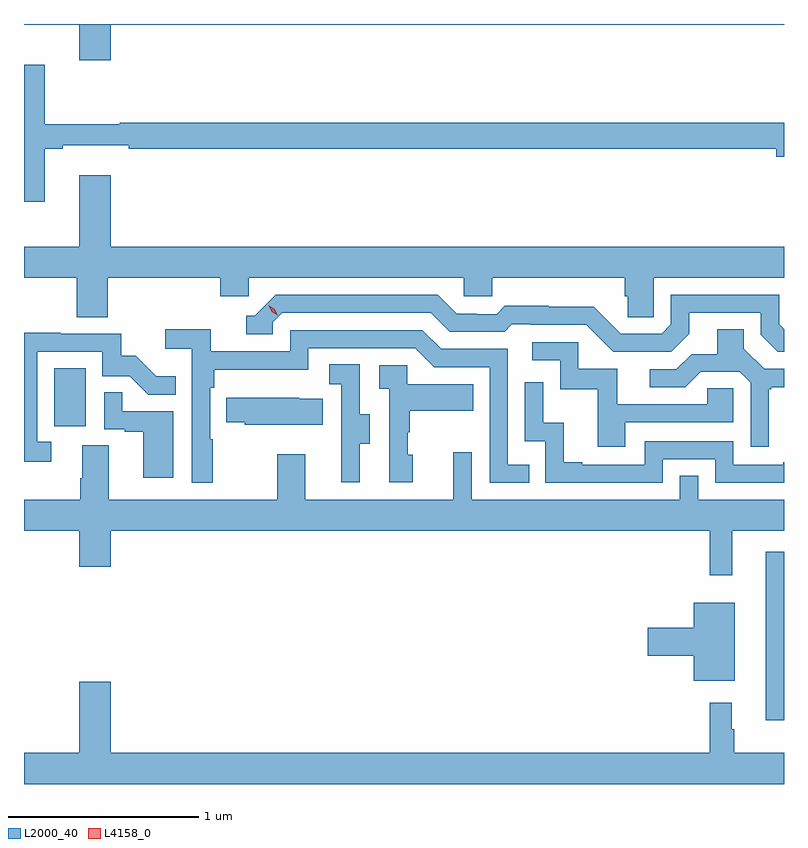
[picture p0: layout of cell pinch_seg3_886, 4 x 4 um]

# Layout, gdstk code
import gdstk
lib = gdstk.Library(unit=1e-6, precision=1e-09)
def R(c, l, rs):  # rectangles x0, y0, x1, y1
    for r in rs: c.add(gdstk.rectangle(r[:2], r[2:], *l))
def P(c, l, *ps):  # polygons
    for p in ps: c.add(gdstk.Polygon(p, *l))
L2000_40 = (2000, 40)
L4158_0 = (4158, 0)

pinch_seg3_886 = lib.new_cell('pinch_seg3_886')
R(pinch_seg3_886, L2000_40, [(887.9,690.596,887.996,691.483), (884.156,692.142,884.32,692.449)])
P(pinch_seg3_886, L2000_40, [(884.452,694.256),(887.996,694.256),(887.996,694.26),(883.996,694.26),(883.996,694.256),(884.288,694.256),(884.288,694.068),(884.452,694.068)],
  [(884.104,693.604),(884.2,693.604),(884.2,693.623),(884.548,693.623),(884.548,693.604),(887.954,693.604),(887.954,693.562),(887.996,693.562),(887.996,693.74),(884.5,693.74),(884.5,693.733),(884.104,693.733),(884.104,694.045),(883.996,694.045),(883.996,693.324),(884.104,693.324)],
  [(884.438,692.924),(885.029,692.924),(885.029,692.826),(885.18,692.826),(885.18,692.924),(886.311,692.924),(886.311,692.826),(886.461,692.826),(886.461,692.924),(887.159,692.924),(887.159,692.826),(887.173,692.826),(887.173,692.716),(887.31,692.716),(887.31,692.924),(887.996,692.924),(887.996,693.088),(884.452,693.088),(884.452,693.463),(884.288,693.463),(884.288,693.088),(883.996,693.088),(883.996,692.924),(884.273,692.924),(884.273,692.716),(884.438,692.716)],
  [(887.497,692.629),(887.497,692.739),(887.874,692.739),(887.874,692.625),(887.964,692.535),(887.996,692.535),(887.996,692.653),(887.97,692.679),(887.97,692.835),(887.4,692.835),(887.4,692.679),(887.352,692.631),(887.136,692.631),(886.994,692.773),(886.758,692.773),(886.758,692.776),(886.525,692.776),(886.483,692.733),(886.38,692.733),(886.38,692.736),(886.273,692.736),(886.174,692.835),(885.321,692.835),(885.21,692.724),(885.167,692.724),(885.167,692.628),(885.306,692.628),(885.306,692.691),(885.354,692.739),(886.137,692.739),(886.236,692.64),(886.525,692.64),(886.564,692.679),(886.663,692.679),(886.663,692.676),(886.956,692.676),(887.097,692.535),(887.403,692.535)],
  [(884.989,692.075),(884.976,692.075),(884.976,692.345),(884.996,692.345),(884.996,692.441),(885.492,692.441),(885.492,692.553),(886.056,692.553),(886.155,692.454),(886.446,692.454),(886.446,691.845),(886.655,691.845),(886.655,691.941),(886.542,691.941),(886.542,692.55),(886.192,692.55),(886.093,692.649),(885.396,692.649),(885.396,692.538),(884.978,692.538),(884.978,692.654),(884.739,692.654),(884.739,692.552),(884.88,692.552),(884.88,691.845),(884.989,691.845)],
  [(887.917,692.337),(887.929,692.337),(887.929,692.348),(887.996,692.348),(887.996,692.445),(887.892,692.445),(887.785,692.552),(887.785,692.654),(887.645,692.654),(887.645,692.522),(887.51,692.522),(887.43,692.442),(887.289,692.442),(887.289,692.349),(887.476,692.349),(887.557,692.43),(887.763,692.43),(887.82,692.373),(887.82,692.034),(887.917,692.034)],
  [(884.14,692.061),(884.067,692.061),(884.067,692.535),(884.409,692.535),(884.409,692.406),(884.553,692.406),(884.651,692.308),(884.795,692.308),(884.795,692.407),(884.691,692.407),(884.584,692.514),(884.508,692.514),(884.508,692.631),(884.189,692.631),(884.189,692.636),(883.996,692.636),(883.996,691.956),(884.14,691.956)],
  [(887.161,692.163),(887.73,692.163),(887.73,692.343),(887.593,692.343),(887.593,692.259),(887.119,692.259),(887.119,692.445),(886.914,692.445),(886.914,692.586),(886.671,692.586),(886.671,692.49),(886.818,692.49),(886.818,692.337),(887.017,692.337),(887.017,692.034),(887.161,692.034)],
  [(885.763,692.05),(885.817,692.05),(885.817,692.205),(885.762,692.205),(885.762,692.468),(885.603,692.468),(885.603,692.365),(885.666,692.365),(885.666,692.061),(885.665,692.061),(885.665,691.848),(885.763,691.848)],
  [(886.042,691.992),(886.017,691.992),(886.017,692.111),(886.027,692.111),(886.027,692.225),(886.361,692.225),(886.361,692.365),(886.014,692.365),(886.014,692.463),(885.867,692.463),(885.867,692.339),(885.918,692.339),(885.918,691.848),(886.042,691.848)],
  [(887.358,691.968),(887.634,691.968),(887.634,691.845),(887.996,691.845),(887.996,691.954),(887.993,691.954),(887.993,691.941),(887.73,691.941),(887.73,692.064),(887.262,692.064),(887.262,691.941),(886.933,691.941),(886.933,691.954),(886.838,691.954),(886.838,692.162),(886.728,692.162),(886.728,692.374),(886.632,692.374),(886.632,692.064),(886.74,692.064),(886.74,691.845),(887.358,691.845)],
  [(884.782,692.223),(884.513,692.223),(884.513,692.321),(884.418,692.321),(884.418,692.127),(884.525,692.127),(884.525,692.115),(884.624,692.115),(884.624,691.872),(884.782,691.872)],
  [(885.569,692.287),(885.444,692.287),(885.444,692.293),(885.061,692.293),(885.061,692.164),(885.159,692.164),(885.159,692.15),(885.569,692.15)],
  [(887.544,691.883),(887.448,691.883),(887.448,691.756),(886.353,691.756),(886.353,692.005),(886.256,692.005),(886.256,691.756),(885.475,691.756),(885.475,691.996),(885.328,691.996),(885.328,691.756),(884.443,691.756),(884.443,692.042),(884.303,692.042),(884.303,691.868),(884.291,691.868),(884.291,691.756),(883.996,691.756),(883.996,691.592),(884.288,691.592),(884.288,691.404),(884.452,691.404),(884.452,691.592),(887.605,691.592),(887.605,691.359),(887.723,691.359),(887.723,691.592),(887.996,691.592),(887.996,691.756),(887.544,691.756)],
  [(887.737,691.213),(887.522,691.213),(887.522,691.082),(887.28,691.082),(887.28,690.935),(887.522,690.935),(887.522,690.803),(887.737,690.803)],
  [(887.996,690.424),(887.734,690.424),(887.734,690.548),(887.722,690.548),(887.722,690.688),(887.605,690.688),(887.605,690.424),(884.452,690.424),(884.452,690.799),(884.288,690.799),(884.288,690.424),(883.996,690.424),(883.996,690.26),(887.996,690.26)])
P(pinch_seg3_886, L4158_0, [(885.332,692.727),(885.301,692.746),(885.285,692.778),(885.285,692.779),(885.285,692.779),(885.316,692.759),(885.332,692.727),(885.332,692.727)])

lib.write_gds('pinch_seg3_886.gds')
